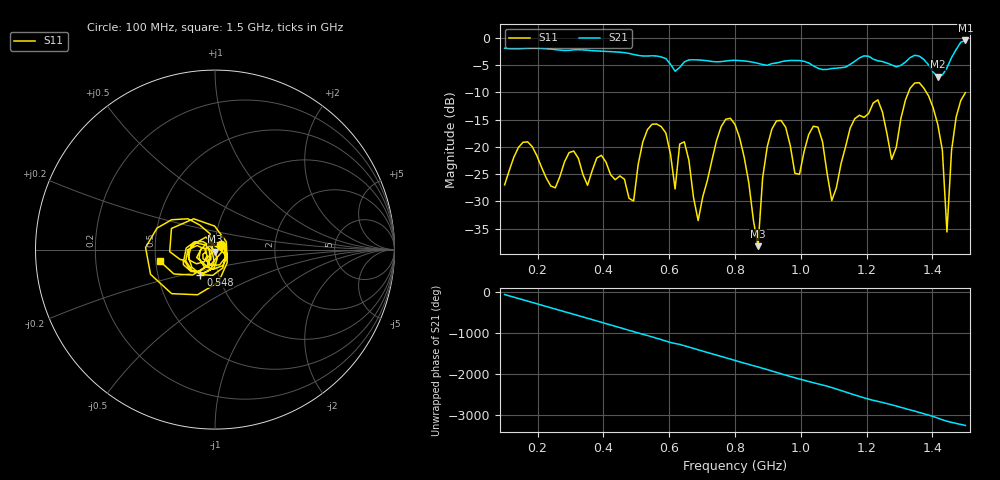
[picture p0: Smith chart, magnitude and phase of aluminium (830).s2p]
! NanoVNA-App
! Date: 2025-09-25 15:01:44
! Start: 100MHz Stop: 1,5GHz Points: 101
! S-Parameter data: F S11 S21 S12 S22
# Hz S RI R 50
!  Frequency  S11_Real  S11_Imag  S21_Real  S21_Imag  S12_Real  S12_Imag  S22_Real  S22_Imag
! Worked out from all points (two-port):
!   101 points, 100 MHz to 1.5 GHz, reference 50 ohm
!   highest |S21| = -0.50 dB at 1.5 GHz (marker M1); lowest = -7.1 dB at 1.416 GHz (marker M2)
!   |S21| within 3 dB of the highest: start of sweep to 574.4 MHz; 1.459 GHz to end of sweep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
!   lowest |S11| = -38.2 dB at 870 MHz (marker M3), VSWR 1.02, Z = 50.1 - j1.23 ohm
!   |S11| at or under -10 dB: start of sweep to 1.327 GHz; 1.382 GHz to end of sweep
!   S12 and S22 are empty: the file has one direction only
!   S11 on the Smith chart (normalised r, x): 100 MHz: 1.07, +0.06; 548 MHz: 0.82, -0.23; 1.5 GHz: 0.53, -0.08
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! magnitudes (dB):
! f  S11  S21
! 100 MHz  -27.0  -1.9
! 156 MHz  -19.1  -2.0
! 338 MHz  -25.1  -2.2
! 492 MHz  -29.9  -3.1
! 548 MHz  -15.9  -3.3
! 576 MHz  -16.3  -3.5
! 618 MHz  -27.7  -6.1
! 646 MHz  -19.1  -4.4
! 688 MHz  -33.5  -4.1
! 800 MHz  -15.9  -4.1
! 870 MHz  -38.2  -4.7
! 912 MHz  -16.7  -4.7
! 996 MHz  -25.0  -4.2
! 1.038 GHz  -16.2  -5.1
! 1.094 GHz  -29.8  -5.6
! 1.22 GHz  -12.0  -3.9
! 1.276 GHz  -22.3  -5.0
! 1.346 GHz  -8.3  -3.2
! 1.416 GHz  -15.9  -7.1
! 1.444 GHz  -35.6  -5.5
! 1.458 GHz  -20.6  -3.6
! 1.5 GHz  -10.1  -0.5
